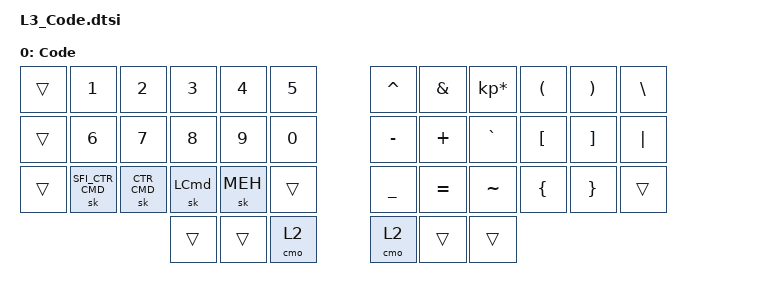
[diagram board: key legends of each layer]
/**
 * Code Layer
 */

/ {

    
  keymap {
    compatible = "zmk,keymap";

    layer_3 {
      label = "Code";
      bindings = <
// ╭───────────────┬───────────────┬───────────────┬───────────────┬───────────────┬───────────────╮   ╭───────────────┬───────────────┬───────────────┬───────────────┬───────────────┬───────────────╮
//  0               1               2               3               4               5                   6               7               8               9               10              11
    &trans          &kp N1          &kp N2          &kp N3          &kp N4          &kp N5              &kp CARET      &kp AMPS        &kp KP_MULTIPLY &kp LPAR        &kp RPAR        &kp BSLH
// ├───────────────├───────────────┼───────────────┼───────────────┼───────────────┼───────────────┤   ├───────────────├───────────────┼───────────────┼───────────────┼───────────────┼───────────────┤
//  12              13              14              15              16              17                  18              19              20              21              22              23
    &trans          &kp N6          &kp N7          &kp N8          &kp N9          &kp N0             &kp MINUS       &kp PLUS        &kp GRAVE       &kp LBKT        &kp RBKT        &kp PIPE
// ├───────────────├───────────────┼───────────────┼───────────────┼───────────────┼───────────────┤   ├───────────────├───────────────┼───────────────┼───────────────┼───────────────┼───────────────┤
//  24              25              26              27              28              29                  30              31              32              33              34              35
    &trans          &sk SFI_CTR_CMD &sk CTR_CMD    &sk LCMD        &sk MEH         &trans             &kp UNDER       &kp EQUAL       &kp TILDE       &kp LBRC        &kp RBRC        &trans
// ╰───────────────┴───────────────┴───────────────┼───────────────┼───────────────┼───────────────┤   ├───────────────├───────────────┼───────────────┼───────────────┴───────────────┴───────────────╯
//                                                  36              37              38                  39              40              41
                                                    &trans          &trans          &cmo L2             &cmo L2         &trans          &trans
//                                                 ╰───────────────┴───────────────┴───────────────╯   ╰───────────────┴───────────────┴───────────────╯
      >;
    };
  };
};
